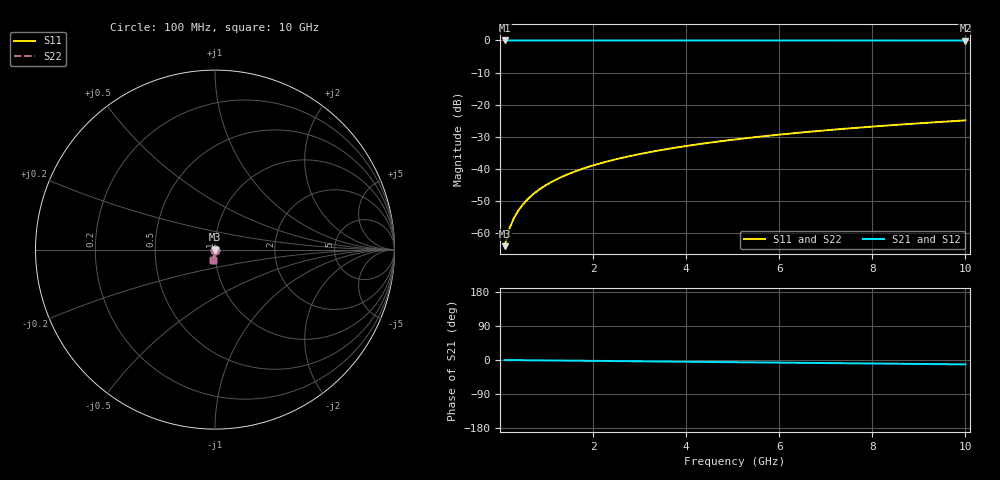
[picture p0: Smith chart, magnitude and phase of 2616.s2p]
# Hz S RI R 50.00
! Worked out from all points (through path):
!   100 points, 100 MHz to 10 GHz, reference 50 ohm
!   highest |S21| = 0.00 dB at 100 MHz (marker M1); lowest = 0.0 dB at 10 GHz (marker M2)
!   group delay of S21, straight-line fit = 3.21 ps
!   lowest |S11| = -64.0 dB at 100 MHz (marker M3), VSWR 1.00, Z = 50 - j0.057 ohm
!   |S11| at or under -10 dB: start of sweep to end of sweep
!   |S22| runs from -64.0 to -24.9 dB; largest |S21 - S12| = 0
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1e8  0.000279 -0.00057  0.9997 -0.002  0.9997 -0.002  0.000279 -0.00057
2e8  0.000276 -0.00114  0.9997 -0.004  0.9997 -0.004  0.000276 -0.00114
3e8  0.000271 -0.00171  0.9997 -0.006  0.9997 -0.006  0.000271 -0.00171
4e8  0.000263 -0.00228  0.9997 -0.008  0.9997 -0.008  0.000263 -0.00228
5e8  0.000252 -0.00285  0.9997 -0.01  0.9997 -0.01  0.000252 -0.00285
6e8  0.000239 -0.00342  0.9996 -0.012  0.9996 -0.012  0.000239 -0.00342
7e8  0.000224 -0.00399  0.9996 -0.014  0.9996 -0.014  0.000224 -0.00399
8e8  0.000206 -0.00456  0.9996 -0.016  0.9996 -0.016  0.000206 -0.00456
9e8  0.000187 -0.00513  0.9995 -0.018  0.9995 -0.018  0.000187 -0.00513
1.1e9  0.00014 -0.00627  0.9994 -0.022  0.9994 -0.022  0.00014 -0.00627
1.4e9  5.22e-05 -0.00798  0.9993 -0.028  0.9993 -0.028  5.22e-05 -0.00798
1.8e9  -9.69e-05 -0.0103  0.999 -0.036  0.999 -0.036  -9.69e-05 -0.0103
2.1e9  -0.000233 -0.012  0.9987 -0.042  0.9987 -0.042  -0.000233 -0.012
2.5e9  -0.000447 -0.0143  0.9983 -0.05  0.9983 -0.05  -0.000447 -0.0143
2.9e9  -0.000697 -0.0165  0.9978 -0.058  0.9978 -0.058  -0.000697 -0.0165
3.4e9  -0.00106 -0.0194  0.9971 -0.0681  0.9971 -0.0681  -0.00106 -0.0194
4.2e9  -0.00177 -0.0239  0.9958 -0.0841  0.9958 -0.0841  -0.00177 -0.0239
5.1e9  -0.00274 -0.029  0.994 -0.1021  0.994 -0.1021  -0.00274 -0.029
5.9e9  -0.00376 -0.0336  0.992 -0.1182  0.992 -0.1182  -0.00376 -0.0336
6.7e9  -0.00492 -0.038  0.9898 -0.1342  0.9898 -0.1342  -0.00492 -0.038
8.4e9  -0.00789 -0.0474  0.9841 -0.1682  0.9841 -0.1682  -0.00789 -0.0474
1e10  -0.0113 -0.0561  0.9776 -0.2001  0.9776 -0.2001  -0.0113 -0.0561
